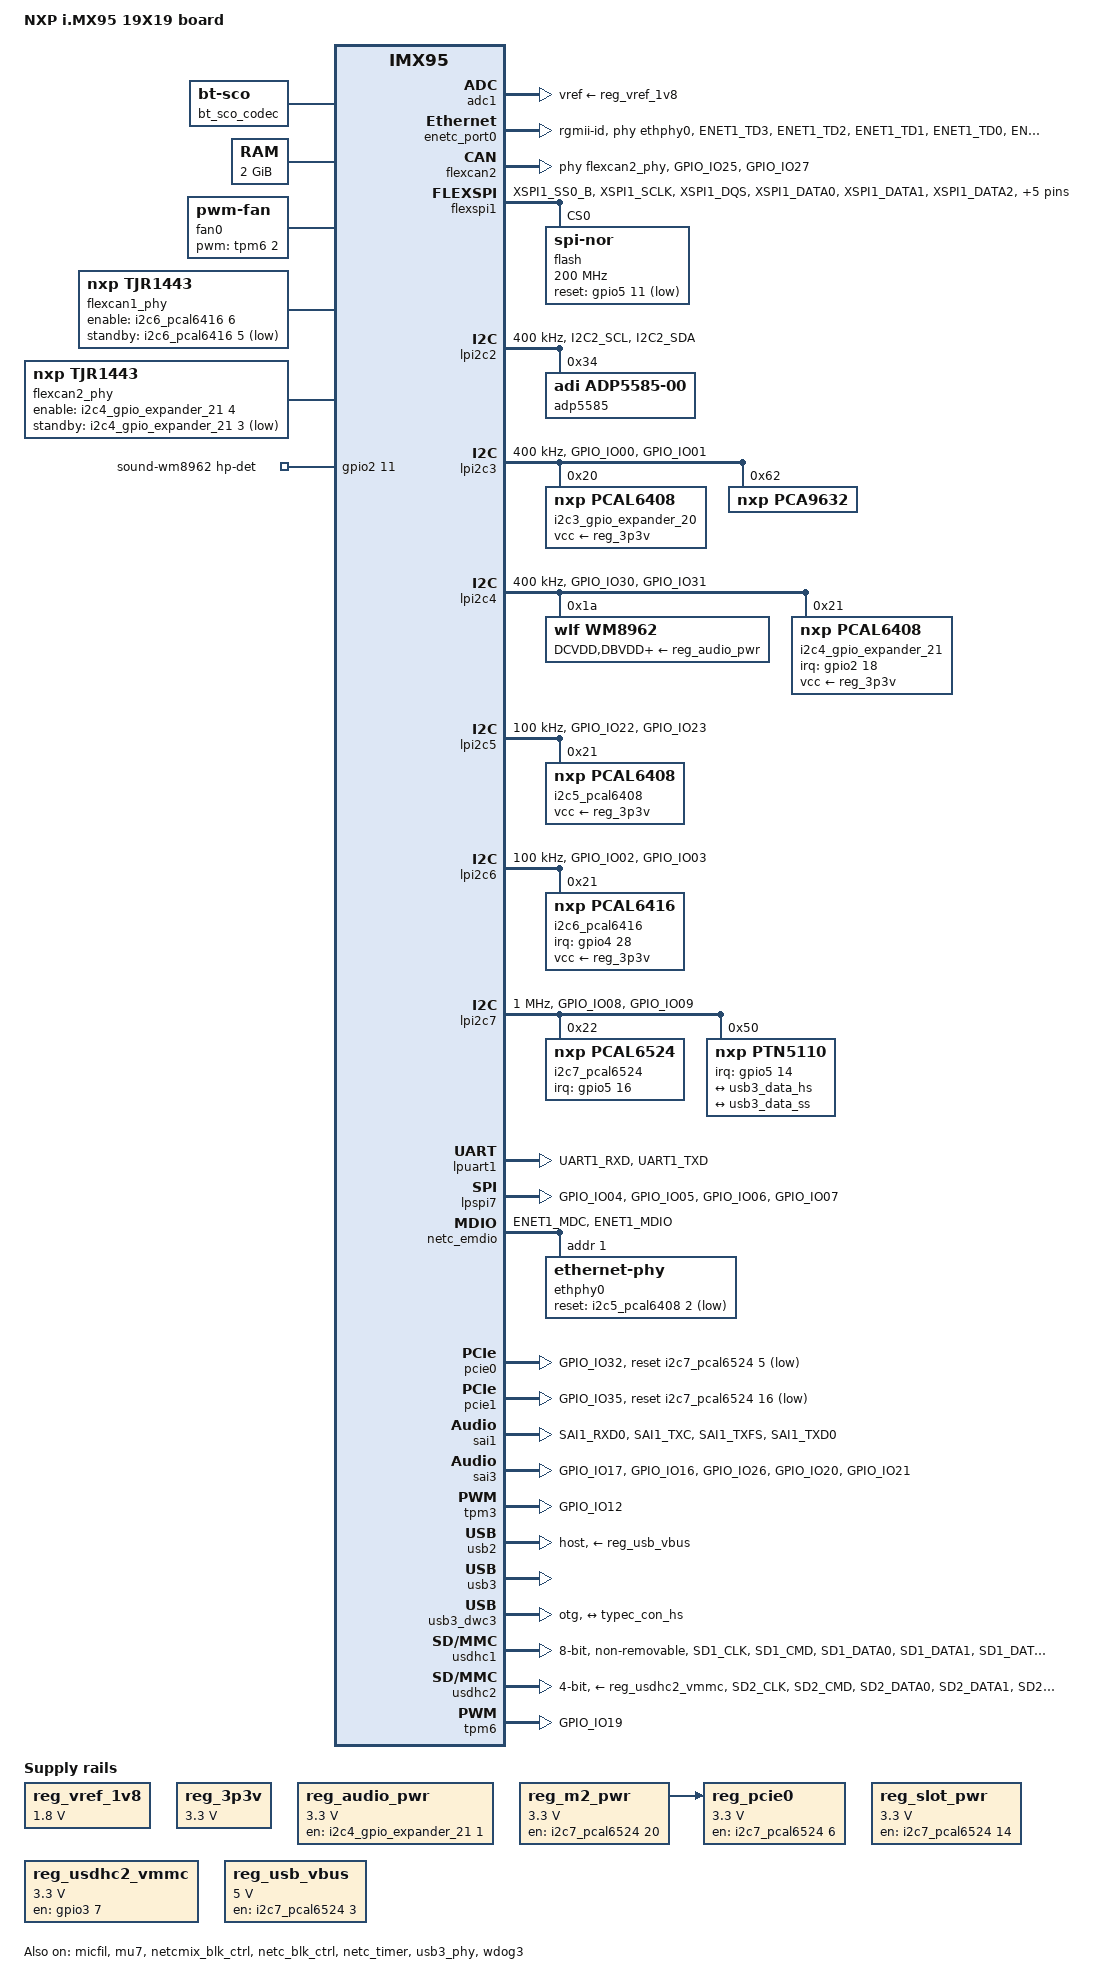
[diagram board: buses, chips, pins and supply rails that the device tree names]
// SPDX-License-Identifier: (GPL-2.0+ OR MIT)
/*
 * Copyright 2024 NXP
 */

/dts-v1/;

#include <dt-bindings/pwm/pwm.h>
#include <dt-bindings/usb/pd.h>
#include "imx95.dtsi"

#define FALLING_EDGE			1
#define RISING_EDGE			2

#define BRD_SM_CTRL_SD3_WAKE		0x8000	/* PCAL6408A-0 */
#define BRD_SM_CTRL_PCIE1_WAKE		0x8001	/* PCAL6408A-4 */
#define BRD_SM_CTRL_BT_WAKE		0x8002	/* PCAL6408A-5 */
#define BRD_SM_CTRL_PCIE2_WAKE		0x8003	/* PCAL6408A-6 */
#define BRD_SM_CTRL_BUTTON		0x8004	/* PCAL6408A-7 */

/ {
	model = "NXP i.MX95 19X19 board";
	compatible = "fsl,imx95-19x19-evk", "fsl,imx95";

	aliases {
		ethernet0 = &enetc_port0;
		gpio0 = &gpio1;
		gpio1 = &gpio2;
		gpio2 = &gpio3;
		gpio3 = &gpio4;
		gpio4 = &gpio5;
		i2c0 = &lpi2c1;
		i2c1 = &lpi2c2;
		i2c2 = &lpi2c3;
		i2c3 = &lpi2c4;
		i2c4 = &lpi2c5;
		i2c5 = &lpi2c6;
		i2c6 = &lpi2c7;
		i2c7 = &lpi2c8;
		mmc0 = &usdhc1;
		mmc1 = &usdhc2;
		serial0 = &lpuart1;
		serial4 = &lpuart5;
	};

	bt_sco_codec: audio-codec-bt-sco {
		#sound-dai-cells = <1>;
		compatible = "linux,bt-sco";
	};

	chosen {
		stdout-path = &lpuart1;
	};

	memory@80000000 {
		device_type = "memory";
		reg = <0x0 0x80000000 0 0x80000000>;
	};

	fan0: pwm-fan {
		compatible = "pwm-fan";
		#cooling-cells = <2>;
		pwms = <&tpm6 2 4000000 PWM_POLARITY_INVERTED>;
		cooling-levels = <64 128 192 255>;
	};

	reserved-memory {
		#address-cells = <2>;
		#size-cells = <2>;
		ranges;

		linux_cma: linux,cma {
			compatible = "shared-dma-pool";
			alloc-ranges = <0 0x80000000 0 0x7f000000>;
			size = <0 0x3c000000>;
			linux,cma-default;
			reusable;
		};
	};

	flexcan1_phy: can-phy0 {
		compatible = "nxp,tjr1443";
		#phy-cells = <0>;
		max-bitrate = <8000000>;
		enable-gpios = <&i2c6_pcal6416 6 GPIO_ACTIVE_HIGH>;
		standby-gpios = <&i2c6_pcal6416 5 GPIO_ACTIVE_LOW>;
	};

	flexcan2_phy: can-phy1 {
		compatible = "nxp,tjr1443";
		#phy-cells = <0>;
		max-bitrate = <8000000>;
		enable-gpios = <&i2c4_gpio_expander_21 4 GPIO_ACTIVE_HIGH>;
		standby-gpios = <&i2c4_gpio_expander_21 3 GPIO_ACTIVE_LOW>;
	};

	reg_vref_1v8: regulator-1p8v {
		compatible = "regulator-fixed";
		regulator-max-microvolt = <1800000>;
		regulator-min-microvolt = <1800000>;
		regulator-name = "+V1.8_SW";
	};

	reg_3p3v: regulator-3p3v {
		compatible = "regulator-fixed";
		regulator-max-microvolt = <3300000>;
		regulator-min-microvolt = <3300000>;
		regulator-name = "+V3.3_SW";
	};

	reg_audio_pwr: regulator-audio-pwr {
		compatible = "regulator-fixed";
		regulator-name = "audio-pwr";
		regulator-min-microvolt = <3300000>;
		regulator-max-microvolt = <3300000>;
		gpio = <&i2c4_gpio_expander_21 1 GPIO_ACTIVE_HIGH>;
		enable-active-high;
		regulator-always-on;
	};

	reg_audio_slot: regulator-audio-slot {
		compatible = "regulator-fixed";
		regulator-name = "audio-wm8962";
		regulator-min-microvolt = <3300000>;
		regulator-max-microvolt = <3300000>;
		gpio = <&i2c4_gpio_expander_21 7 GPIO_ACTIVE_HIGH>;
		enable-active-high;
		regulator-always-on;
		status = "disabled";
	};

	reg_m2_pwr: regulator-m2-pwr {
		compatible = "regulator-fixed";
		regulator-name = "M.2-power";
		regulator-min-microvolt = <3300000>;
		regulator-max-microvolt = <3300000>;
		gpio = <&i2c7_pcal6524 20 GPIO_ACTIVE_HIGH>;
		enable-active-high;
		/*
		 * M.2 device only can be enabled(W_DISABLE1#) after all Power
		 * Rails reach their minimum operating voltage (PCI Express M.2
		 * Specification r5.1 3.1.4 Power-up Timing).
		 * Set a delay equal to the max value of Tsettle here.
		 */
		startup-delay-us = <5000>;
	};

	reg_pcie0: regulator-pcie {
		compatible = "regulator-fixed";
		regulator-name = "PCIE_WLAN_EN";
		regulator-min-microvolt = <3300000>;
		regulator-max-microvolt = <3300000>;
		vin-supply = <&reg_m2_pwr>;
		gpio = <&i2c7_pcal6524 6 GPIO_ACTIVE_HIGH>;
		enable-active-high;
	};

	reg_slot_pwr: regulator-slot-pwr {
		compatible = "regulator-fixed";
		regulator-name = "PCIe slot-power";
		regulator-min-microvolt = <3300000>;
		regulator-max-microvolt = <3300000>;
		gpio = <&i2c7_pcal6524 14 GPIO_ACTIVE_HIGH>;
		enable-active-high;
	};

	reg_usdhc2_vmmc: regulator-usdhc2 {
		compatible = "regulator-fixed";
		pinctrl-names = "default";
		pinctrl-0 = <&pinctrl_reg_usdhc2_vmmc>;
		regulator-name = "VDD_SD2_3V3";
		regulator-min-microvolt = <3300000>;
		regulator-max-microvolt = <3300000>;
		gpio = <&gpio3 7 GPIO_ACTIVE_HIGH>;
		enable-active-high;
		off-on-delay-us = <12000>;
	};

	reg_usb_vbus: regulator-vbus {
		compatible = "regulator-fixed";
		regulator-name = "USB_VBUS";
		regulator-min-microvolt = <5000000>;
		regulator-max-microvolt = <5000000>;
		gpio = <&i2c7_pcal6524 3 GPIO_ACTIVE_HIGH>;
		enable-active-high;
	};

	sound-bt-sco {
		compatible = "simple-audio-card";
		simple-audio-card,name = "bt-sco-audio";
		simple-audio-card,format = "dsp_a";
		simple-audio-card,bitclock-inversion;
		simple-audio-card,frame-master = <&btcpu>;
		simple-audio-card,bitclock-master = <&btcpu>;

		btcpu: simple-audio-card,cpu {
			sound-dai = <&sai1>;
			dai-tdm-slot-num = <2>;
			dai-tdm-slot-width = <16>;
		};

		simple-audio-card,codec {
			sound-dai = <&bt_sco_codec 1>;
		};
	};

	sound-micfil {
		compatible = "fsl,imx-audio-card";
		model = "micfil-audio";

		pri-dai-link {
			link-name = "micfil hifi";
			format = "i2s";
			cpu {
				sound-dai = <&micfil>;
			};
		};
	};

	sound-wm8962 {
		compatible = "fsl,imx-audio-wm8962";
		pinctrl-names = "default";
		pinctrl-0 = <&pinctrl_hp>;
		model = "wm8962-audio";
		audio-cpu = <&sai3>;
		audio-codec = <&wm8962>;
		hp-det-gpios = <&gpio2 11 GPIO_ACTIVE_HIGH>;
		audio-routing = "Headphone Jack", "HPOUTL",
				"Headphone Jack", "HPOUTR",
				"Ext Spk", "SPKOUTL",
				"Ext Spk", "SPKOUTR",
				"AMIC", "MICBIAS",
				"IN3R", "AMIC",
				"IN1R", "AMIC";
	};
};

&adc1 {
	vref-supply = <&reg_vref_1v8>;
	status = "okay";
};

&enetc_port0 {
	pinctrl-names = "default";
	pinctrl-0 = <&pinctrl_enetc0>;
	phy-handle = <&ethphy0>;
	phy-mode = "rgmii-id";
	status = "okay";
};

&flexcan1 {
	pinctrl-names = "default";
	pinctrl-0 = <&pinctrl_flexcan1>;
	phys = <&flexcan1_phy>;
	status = "disabled";
};

&flexcan2 {
	pinctrl-names = "default";
	pinctrl-0 = <&pinctrl_flexcan2>;
	phys = <&flexcan2_phy>;
	status = "okay";
};

&flexspi1 {
	pinctrl-names = "default";
	pinctrl-0 = <&pinctrl_flexspi1>;
	status = "okay";

	flash@0 {
		compatible = "jedec,spi-nor";
		reg = <0>;
		pinctrl-names = "default";
		pinctrl-0 = <&pinctrl_flexspi1_reset>;
		reset-gpios = <&gpio5 11 GPIO_ACTIVE_LOW>;
		#address-cells = <1>;
		#size-cells = <1>;
		spi-max-frequency = <200000000>;
		spi-tx-bus-width = <8>;
		spi-rx-bus-width = <8>;
	};
};

&lpi2c2 {
	clock-frequency = <400000>;
	pinctrl-names = "default";
	pinctrl-0 = <&pinctrl_lpi2c2>;
	status = "okay";

	adp5585: io-expander@34 {
		compatible = "adi,adp5585-00", "adi,adp5585";
		reg = <0x34>;
		gpio-controller;
		#gpio-cells = <2>;
		gpio-reserved-ranges = <5 1>;
		#pwm-cells = <3>;
	};
};

&lpi2c3 {
	clock-frequency = <400000>;
	pinctrl-names = "default";
	pinctrl-0 = <&pinctrl_lpi2c3>;
	status = "okay";

	i2c3_gpio_expander_20: gpio@20 {
		compatible = "nxp,pcal6408";
		#gpio-cells = <2>;
		gpio-controller;
		reg = <0x20>;
		vcc-supply = <&reg_3p3v>;
	};

	pca9632: pca9632@62 {
		compatible = "nxp,pca9632";
		reg = <0x62>;
		#address-cells = <1>;
		#size-cells = <0>;

		led_baclklight: led@0 {
			reg = <0>;
			label = "backlight";
			linux,default-trigger = "none";
		};
	};
};

&lpi2c4 {
	clock-frequency = <400000>;
	pinctrl-names = "default";
	pinctrl-0 = <&pinctrl_lpi2c4>;
	status = "okay";

	wm8962: audio-codec@1a {
		compatible = "wlf,wm8962";
		reg = <0x1a>;
		clocks = <&scmi_clk IMX95_CLK_SAI3>;
		DCVDD-supply = <&reg_audio_pwr>;
		DBVDD-supply = <&reg_audio_pwr>;
		AVDD-supply = <&reg_audio_pwr>;
		CPVDD-supply = <&reg_audio_pwr>;
		MICVDD-supply = <&reg_audio_pwr>;
		PLLVDD-supply = <&reg_audio_pwr>;
		SPKVDD1-supply = <&reg_audio_pwr>;
		SPKVDD2-supply = <&reg_audio_pwr>;
		gpio-cfg = < 0x0000 /* 0:Default */
			     0x0000 /* 1:Default */
			     0x0000 /* 2:FN_DMICCLK */
			     0x0000 /* 3:Default */
			     0x0000 /* 4:FN_DMICCDAT */
			     0x0000 /* 5:Default */
			   >;
	};

	i2c4_gpio_expander_21: gpio@21 {
		compatible = "nxp,pcal6408";
		reg = <0x21>;
		#gpio-cells = <2>;
		gpio-controller;
		interrupt-controller;
		#interrupt-cells = <2>;
		interrupt-parent = <&gpio2>;
		interrupts = <18 IRQ_TYPE_LEVEL_LOW>;
		pinctrl-names = "default";
		pinctrl-0 = <&pinctrl_i2c4_pcal6408>;
		vcc-supply = <&reg_3p3v>;
	};
};

&lpi2c5 {
	clock-frequency = <100000>;
	pinctrl-names = "default";
	pinctrl-0 = <&pinctrl_lpi2c5>;
	status = "okay";

	i2c5_pcal6408: gpio@21 {
		compatible = "nxp,pcal6408";
		reg = <0x21>;
		gpio-controller;
		#gpio-cells = <2>;
		vcc-supply = <&reg_3p3v>;
	};
};

&lpi2c6 {
	clock-frequency = <100000>;
	pinctrl-names = "default";
	pinctrl-0 = <&pinctrl_lpi2c6>;
	status = "okay";

	i2c6_pcal6416: gpio@21 {
		compatible = "nxp,pcal6416";
		reg = <0x21>;
		gpio-controller;
		#gpio-cells = <2>;
		interrupt-controller;
		#interrupt-cells = <2>;
		interrupt-parent = <&gpio4>;
		interrupts = <28 IRQ_TYPE_LEVEL_LOW>;
		pinctrl-names = "default";
		pinctrl-0 = <&pinctrl_pcal6416>;
		vcc-supply = <&reg_3p3v>;
	};
};

&lpi2c7 {
	clock-frequency = <1000000>;
	pinctrl-names = "default";
	pinctrl-0 = <&pinctrl_lpi2c7>;
	status = "okay";

	i2c7_pcal6524: i2c7-gpio@22 {
		compatible = "nxp,pcal6524";
		reg = <0x22>;
		pinctrl-names = "default";
		pinctrl-0 = <&pinctrl_i2c7_pcal6524>;
		gpio-controller;
		#gpio-cells = <2>;
		interrupt-controller;
		#interrupt-cells = <2>;
		interrupt-parent = <&gpio5>;
		interrupts = <16 IRQ_TYPE_LEVEL_LOW>;
	};

	ptn5110: tcpc@50 {
		compatible = "nxp,ptn5110", "tcpci";
		reg = <0x50>;
		pinctrl-names = "default";
		pinctrl-0 = <&pinctrl_typec>;
		interrupt-parent = <&gpio5>;
		interrupts = <14 IRQ_TYPE_LEVEL_LOW>;

		typec_con: connector {
			compatible = "usb-c-connector";
			label = "USB-C";
			power-role = "dual";
			data-role = "dual";
			try-power-role = "sink";
			source-pdos = <PDO_FIXED(5000, 3000, PDO_FIXED_USB_COMM)>;
			sink-pdos = <PDO_FIXED(5000, 0, PDO_FIXED_USB_COMM)>;
			op-sink-microwatt = <0>;
			self-powered;

			ports {
				#address-cells = <1>;
				#size-cells = <0>;

				port@0 {
					reg = <0>;

					typec_con_hs: endpoint {
						remote-endpoint = <&usb3_data_hs>;
					};
				};

				port@1 {
					reg = <1>;

					typec_con_ss: endpoint {
						remote-endpoint = <&usb3_data_ss>;
					};
				};
			};
		};
	};
};

&lpuart1 {
	/* console */
	pinctrl-names = "default";
	pinctrl-0 = <&pinctrl_uart1>;
	status = "okay";
};

&lpuart5 {
	pinctrl-names = "default";
	pinctrl-0 = <&pinctrl_uart5>;
	status = "disabled";

	bluetooth {
		compatible = "nxp,88w8987-bt";
	};
};

&lpspi7 {
	num-cs = <1>;
	pinctrl-names = "default";
	pinctrl-0 = <&pinctrl_lpspi7>;
	cs-gpios = <&gpio2 4 GPIO_ACTIVE_LOW>;
	status = "okay";
};

&micfil {
	#sound-dai-cells = <0>;
	pinctrl-names = "default";
	pinctrl-0 = <&pinctrl_pdm>;
	assigned-clocks = <&scmi_clk IMX95_CLK_AUDIOPLL1_VCO>,
			  <&scmi_clk IMX95_CLK_AUDIOPLL2_VCO>,
			  <&scmi_clk IMX95_CLK_AUDIOPLL1>,
			  <&scmi_clk IMX95_CLK_AUDIOPLL2>,
			  <&scmi_clk IMX95_CLK_PDM>;
	assigned-clock-parents = <0>, <0>, <0>, <0>,
				 <&scmi_clk IMX95_CLK_AUDIOPLL1>;
	assigned-clock-rates = <3932160000>,
			       <3612672000>, <393216000>,
			       <361267200>, <49152000>;
	status = "okay";
};

&mu7 {
	status = "okay";
};

&netcmix_blk_ctrl {
	status = "okay";
};

&netc_blk_ctrl {
	status = "okay";
};

&netc_emdio {
	pinctrl-names = "default";
	pinctrl-0 = <&pinctrl_emdio>;
	status = "okay";

	ethphy0: ethernet-phy@1 {
		reg = <1>;
		reset-gpios = <&i2c5_pcal6408 2 GPIO_ACTIVE_LOW>;
		reset-assert-us = <10000>;
		reset-deassert-us = <80000>;
		realtek,clkout-disable;
	};
};

&netc_timer {
	status = "okay";
};

&pcie0 {
	pinctrl-0 = <&pinctrl_pcie0>;
	pinctrl-names = "default";
	reset-gpio = <&i2c7_pcal6524 5 GPIO_ACTIVE_LOW>;
	vpcie-supply = <&reg_pcie0>;
	status = "okay";
};

&pcie0_ep {
	pinctrl-0 = <&pinctrl_pcie0>;
	pinctrl-names = "default";
	vpcie-supply = <&reg_pcie0>;
	status = "disabled";
};

&pcie1 {
	pinctrl-0 = <&pinctrl_pcie1>;
	pinctrl-names = "default";
	reset-gpio = <&i2c7_pcal6524 16 GPIO_ACTIVE_LOW>;
	vpcie-supply = <&reg_slot_pwr>;
	status = "okay";
};

&pcie1_ep {
	pinctrl-0 = <&pinctrl_pcie1>;
	pinctrl-names = "default";
	vpcie-supply = <&reg_slot_pwr>;
	status = "disabled";
};

&sai1 {
	#sound-dai-cells = <0>;
	pinctrl-names = "default";
	pinctrl-0 = <&pinctrl_sai1>;
	assigned-clocks = <&scmi_clk IMX95_CLK_AUDIOPLL1_VCO>,
			  <&scmi_clk IMX95_CLK_AUDIOPLL2_VCO>,
			  <&scmi_clk IMX95_CLK_AUDIOPLL1>,
			  <&scmi_clk IMX95_CLK_AUDIOPLL2>,
			  <&scmi_clk IMX95_CLK_SAI1>;
	assigned-clock-parents = <0>, <0>, <0>, <0>,
				 <&scmi_clk IMX95_CLK_AUDIOPLL1>;
	assigned-clock-rates = <3932160000>,
			       <3612672000>, <393216000>,
			       <361267200>, <12288000>;
	fsl,sai-mclk-direction-output;
	status = "okay";
};

&sai3 {
	#sound-dai-cells = <0>;
	pinctrl-names = "default";
	pinctrl-0 = <&pinctrl_sai3>;
	assigned-clocks = <&scmi_clk IMX95_CLK_AUDIOPLL1_VCO>,
			  <&scmi_clk IMX95_CLK_AUDIOPLL2_VCO>,
			  <&scmi_clk IMX95_CLK_AUDIOPLL1>,
			  <&scmi_clk IMX95_CLK_AUDIOPLL2>,
			  <&scmi_clk IMX95_CLK_SAI3>;
	assigned-clock-parents = <0>, <0>, <0>, <0>,
				 <&scmi_clk IMX95_CLK_AUDIOPLL1>;
	assigned-clock-rates = <3932160000>,
			       <3612672000>, <393216000>,
			       <361267200>, <12288000>;
	fsl,sai-mclk-direction-output;
	status = "okay";
};

&tpm3 {
	pinctrl-names = "default";
	pinctrl-0 = <&pinctrl_tpm3>;
	status = "okay";
};

&usb2 {
	dr_mode = "host";
	disable-over-current;
	vbus-supply = <&reg_usb_vbus>;
	status = "okay";
};

&usb3 {
	status = "okay";
};

&usb3_dwc3 {
	dr_mode = "otg";
	hnp-disable;
	srp-disable;
	adp-disable;
	usb-role-switch;
	role-switch-default-mode = "peripheral";
	snps,dis-u1-entry-quirk;
	snps,dis-u2-entry-quirk;
	status = "okay";

	port {
		usb3_data_hs: endpoint {
			remote-endpoint = <&typec_con_hs>;
		};
	};
};

&usb3_phy {
	fsl,phy-pcs-tx-deemph-3p5db-attenuation-db = <17>;
	fsl,phy-pcs-tx-swing-full-percent = <100>;
	fsl,phy-tx-preemp-amp-tune-microamp = <600>;
	fsl,phy-tx-vboost-level-microvolt = <1156>;
	fsl,phy-tx-vref-tune-percent = <100>;
	orientation-switch;
	status = "okay";

	port {
		usb3_data_ss: endpoint {
			remote-endpoint = <&typec_con_ss>;
		};
	};
};

&usdhc1 {
	pinctrl-names = "default", "state_100mhz", "state_200mhz", "sleep";
	pinctrl-0 = <&pinctrl_usdhc1>;
	pinctrl-1 = <&pinctrl_usdhc1_100mhz>;
	pinctrl-2 = <&pinctrl_usdhc1_200mhz>;
	pinctrl-3 = <&pinctrl_usdhc1>;
	bus-width = <8>;
	non-removable;
	no-sdio;
	no-sd;
	status = "okay";
};

&usdhc2 {
	pinctrl-names = "default", "state_100mhz", "state_200mhz", "sleep";
	pinctrl-0 = <&pinctrl_usdhc2>, <&pinctrl_usdhc2_gpio>;
	pinctrl-1 = <&pinctrl_usdhc2_100mhz>, <&pinctrl_usdhc2_gpio>;
	pinctrl-2 = <&pinctrl_usdhc2_200mhz>, <&pinctrl_usdhc2_gpio>;
	pinctrl-3 = <&pinctrl_usdhc2>, <&pinctrl_usdhc2_gpio>;
	cd-gpios = <&gpio3 0 GPIO_ACTIVE_LOW>;
	vmmc-supply = <&reg_usdhc2_vmmc>;
	bus-width = <4>;
	status = "okay";
};

&scmi_misc {
	nxp,ctrl-ids = <BRD_SM_CTRL_SD3_WAKE	FALLING_EDGE
			BRD_SM_CTRL_PCIE1_WAKE	FALLING_EDGE
			BRD_SM_CTRL_BT_WAKE	FALLING_EDGE
			BRD_SM_CTRL_PCIE2_WAKE	FALLING_EDGE
			BRD_SM_CTRL_BUTTON	FALLING_EDGE>;
};

&wdog3 {
	fsl,ext-reset-output;
	status = "okay";
};

&scmi_iomuxc {
	pinctrl_emdio: emdiogrp {
		fsl,pins = <
			IMX95_PAD_ENET1_MDC__NETCMIX_TOP_NETC_MDC		0x50e
			IMX95_PAD_ENET1_MDIO__NETCMIX_TOP_NETC_MDIO		0x90e
		>;
	};

	pinctrl_enetc0: enetc0grp {
		fsl,pins = <
			IMX95_PAD_ENET1_TD3__NETCMIX_TOP_ETH0_RGMII_TD3		0x50e
			IMX95_PAD_ENET1_TD2__NETCMIX_TOP_ETH0_RGMII_TD2		0x50e
			IMX95_PAD_ENET1_TD1__NETCMIX_TOP_ETH0_RGMII_TD1		0x50e
			IMX95_PAD_ENET1_TD0__NETCMIX_TOP_ETH0_RGMII_TD0		0x50e
			IMX95_PAD_ENET1_TX_CTL__NETCMIX_TOP_ETH0_RGMII_TX_CTL	0x57e
			IMX95_PAD_ENET1_TXC__NETCMIX_TOP_ETH0_RGMII_TX_CLK	0x58e
			IMX95_PAD_ENET1_RX_CTL__NETCMIX_TOP_ETH0_RGMII_RX_CTL	0x57e
			IMX95_PAD_ENET1_RXC__NETCMIX_TOP_ETH0_RGMII_RX_CLK	0x58e
			IMX95_PAD_ENET1_RD0__NETCMIX_TOP_ETH0_RGMII_RD0		0x57e
			IMX95_PAD_ENET1_RD1__NETCMIX_TOP_ETH0_RGMII_RD1		0x57e
			IMX95_PAD_ENET1_RD2__NETCMIX_TOP_ETH0_RGMII_RD2		0x57e
			IMX95_PAD_ENET1_RD3__NETCMIX_TOP_ETH0_RGMII_RD3		0x57e
		>;
	};

	pinctrl_flexcan1: flexcan1grp {
		fsl,pins = <
			IMX95_PAD_PDM_CLK__AONMIX_TOP_CAN1_TX			0x39e
			IMX95_PAD_PDM_BIT_STREAM0__AONMIX_TOP_CAN1_RX		0x39e
		>;
	};

	pinctrl_flexcan2: flexcan2grp {
		fsl,pins = <
			IMX95_PAD_GPIO_IO25__CAN2_TX				0x39e
			IMX95_PAD_GPIO_IO27__CAN2_RX				0x39e
		>;
	};

	pinctrl_flexspi1: flexspi1grp {
		fsl,pins = <
			IMX95_PAD_XSPI1_SS0_B__FLEXSPI1_A_SS0_B			0x3fe
			IMX95_PAD_XSPI1_SCLK__FLEXSPI1_A_SCLK			0x3fe
			IMX95_PAD_XSPI1_DQS__FLEXSPI1_A_DQS			0x3fe
			IMX95_PAD_XSPI1_DATA0__FLEXSPI1_A_DATA_BIT0		0x3fe
			IMX95_PAD_XSPI1_DATA1__FLEXSPI1_A_DATA_BIT1		0x3fe
			IMX95_PAD_XSPI1_DATA2__FLEXSPI1_A_DATA_BIT2		0x3fe
			IMX95_PAD_XSPI1_DATA3__FLEXSPI1_A_DATA_BIT3		0x3fe
			IMX95_PAD_XSPI1_DATA4__FLEXSPI1_A_DATA_BIT4		0x3fe
			IMX95_PAD_XSPI1_DATA5__FLEXSPI1_A_DATA_BIT5		0x3fe
			IMX95_PAD_XSPI1_DATA6__FLEXSPI1_A_DATA_BIT6		0x3fe
			IMX95_PAD_XSPI1_DATA7__FLEXSPI1_A_DATA_BIT7		0x3fe
		>;
	};

	pinctrl_flexspi1_reset: flexspi1-reset-grp {
		fsl,pins = <
			IMX95_PAD_XSPI1_SS1_B__GPIO5_IO_BIT11			0x3fe
		>;
	};

	pinctrl_hp: hpgrp {
		fsl,pins = <
			IMX95_PAD_GPIO_IO11__GPIO2_IO_BIT11		0x31e
		>;
	};

	pinctrl_i2c4_pcal6408: i2c4pcal6498grp {
		fsl,pins = <
			IMX95_PAD_GPIO_IO18__GPIO2_IO_BIT18			0x31e
		>;
	};

	pinctrl_i2c7_pcal6524: i2c7pcal6524grp {
		fsl,pins = <
			IMX95_PAD_GPIO_IO36__GPIO5_IO_BIT16			0x31e
		>;
	};

	pinctrl_lpi2c1: lpi2c1grp {
		fsl,pins = <
			IMX95_PAD_I2C1_SCL__AONMIX_TOP_LPI2C1_SCL		0x40000b9e
			IMX95_PAD_I2C1_SDA__AONMIX_TOP_LPI2C1_SDA		0x40000b9e
		>;
	};

	pinctrl_lpi2c2: lpi2c2grp {
		fsl,pins = <
			IMX95_PAD_I2C2_SCL__AONMIX_TOP_LPI2C2_SCL		0x40000b9e
			IMX95_PAD_I2C2_SDA__AONMIX_TOP_LPI2C2_SDA		0x40000b9e
		>;
	};

	pinctrl_lpi2c3: lpi2c3grp {
		fsl,pins = <
			IMX95_PAD_GPIO_IO00__LPI2C3_SDA				0x40000b9e
			IMX95_PAD_GPIO_IO01__LPI2C3_SCL				0x40000b9e
		>;
	};

	pinctrl_lpi2c4: lpi2c4grp {
		fsl,pins = <
			IMX95_PAD_GPIO_IO30__LPI2C4_SDA			0x40000b9e
			IMX95_PAD_GPIO_IO31__LPI2C4_SCL			0x40000b9e
		>;
	};

	pinctrl_lpi2c5: lpi2c5grp {
		fsl,pins = <
			IMX95_PAD_GPIO_IO22__LPI2C5_SDA			0x40000b9e
			IMX95_PAD_GPIO_IO23__LPI2C5_SCL			0x40000b9e
		>;
	};

	pinctrl_lpi2c6: lpi2c6grp {
		fsl,pins = <
			IMX95_PAD_GPIO_IO02__LPI2C6_SDA			0x40000b9e
			IMX95_PAD_GPIO_IO03__LPI2C6_SCL			0x40000b9e
		>;
	};

	pinctrl_lpi2c7: lpi2c7grp {
		fsl,pins = <
			IMX95_PAD_GPIO_IO08__LPI2C7_SDA			0x40000b9e
			IMX95_PAD_GPIO_IO09__LPI2C7_SCL			0x40000b9e
		>;
	};

	pinctrl_lpspi7: lpspi7grp {
		fsl,pins = <
			IMX95_PAD_GPIO_IO04__GPIO2_IO_BIT4		0x3fe
			IMX95_PAD_GPIO_IO05__LPSPI7_SIN			0x3fe
			IMX95_PAD_GPIO_IO06__LPSPI7_SOUT		0x3fe
			IMX95_PAD_GPIO_IO07__LPSPI7_SCK			0x3fe
		>;
	};

	pinctrl_pcie0: pcie0grp {
		fsl,pins = <
			IMX95_PAD_GPIO_IO32__HSIOMIX_TOP_PCIE1_CLKREQ_B		0x4000031e
		>;
	};

	pinctrl_pcie1: pcie1grp {
		fsl,pins = <
			IMX95_PAD_GPIO_IO35__HSIOMIX_TOP_PCIE2_CLKREQ_B		0x4000031e
		>;
	};

	pinctrl_pcal6416: pcal6416grp {
		fsl,pins = <
			IMX95_PAD_CCM_CLKO3__GPIO4_IO_BIT28			0x31e
		>;
	};

	pinctrl_pdm: pdmgrp {
		fsl,pins = <
			IMX95_PAD_PDM_CLK__AONMIX_TOP_PDM_CLK				0x31e
			IMX95_PAD_PDM_BIT_STREAM0__AONMIX_TOP_PDM_BIT_STREAM_BIT0	0x31e
		>;
	};

	pinctrl_sai1: sai1grp {
		fsl,pins = <
			IMX95_PAD_SAI1_RXD0__AONMIX_TOP_SAI1_RX_DATA_BIT0    0x31e
			IMX95_PAD_SAI1_TXC__AONMIX_TOP_SAI1_TX_BCLK      0x31e
			IMX95_PAD_SAI1_TXFS__AONMIX_TOP_SAI1_TX_SYNC     0x31e
			IMX95_PAD_SAI1_TXD0__AONMIX_TOP_SAI1_TX_DATA_BIT0    0x31e
		>;
	};

	pinctrl_sai2: sai2grp {
		fsl,pins = <
			IMX95_PAD_ENET2_MDIO__NETCMIX_TOP_SAI2_RX_BCLK			0x31e
			IMX95_PAD_ENET2_MDC__NETCMIX_TOP_SAI2_RX_SYNC			0x31e
			IMX95_PAD_ENET2_TD3__NETCMIX_TOP_SAI2_RX_DATA_BIT0		0x31e
			IMX95_PAD_ENET2_TD2__NETCMIX_TOP_SAI2_RX_DATA_BIT1		0x31e
			IMX95_PAD_ENET2_TXC__NETCMIX_TOP_SAI2_TX_BCLK			0x31e
			IMX95_PAD_ENET2_TX_CTL__NETCMIX_TOP_SAI2_TX_SYNC		0x31e
			IMX95_PAD_ENET2_RX_CTL__NETCMIX_TOP_SAI2_TX_DATA_BIT0		0x31e
			IMX95_PAD_ENET2_RXC__NETCMIX_TOP_SAI2_TX_DATA_BIT1		0x31e
			IMX95_PAD_ENET2_RD0__NETCMIX_TOP_SAI2_TX_DATA_BIT2		0x31e
			IMX95_PAD_ENET2_RD1__NETCMIX_TOP_SAI2_TX_DATA_BIT3		0x31e
			IMX95_PAD_ENET2_RD2__NETCMIX_TOP_SAI2_MCLK			0x31e
		>;
	};

	pinctrl_sai3: sai3grp {
		fsl,pins = <
			IMX95_PAD_GPIO_IO17__SAI3_MCLK				0x31e
			IMX95_PAD_GPIO_IO16__SAI3_TX_BCLK			0x31e
			IMX95_PAD_GPIO_IO26__SAI3_TX_SYNC			0x31e
			IMX95_PAD_GPIO_IO20__SAI3_RX_DATA_BIT0			0x31e
			IMX95_PAD_GPIO_IO21__SAI3_TX_DATA_BIT0			0x31e
		>;
	};

	pinctrl_tpm3: tpm3grp {
		fsl,pins = <
			IMX95_PAD_GPIO_IO12__TPM3_CH2			0x51e
		>;
	};

	pinctrl_tpm6: tpm6grp {
		fsl,pins = <
			IMX95_PAD_GPIO_IO19__TPM6_CH2			0x51e
		>;
	};

	pinctrl_uart1: uart1grp {
		fsl,pins = <
			IMX95_PAD_UART1_RXD__AONMIX_TOP_LPUART1_RX      0x31e
			IMX95_PAD_UART1_TXD__AONMIX_TOP_LPUART1_TX      0x31e
		>;
	};

	pinctrl_uart5: uart5grp {
		fsl,pins = <
			IMX95_PAD_DAP_TDO_TRACESWO__LPUART5_TX		0x31e
			IMX95_PAD_DAP_TDI__LPUART5_RX			0x31e
			IMX95_PAD_DAP_TMS_SWDIO__LPUART5_RTS_B		0x31e
			IMX95_PAD_DAP_TCLK_SWCLK__LPUART5_CTS_B		0x31e
		>;
	};

	pinctrl_usdhc1: usdhc1grp {
		fsl,pins = <
			IMX95_PAD_SD1_CLK__USDHC1_CLK			0x158e
			IMX95_PAD_SD1_CMD__USDHC1_CMD			0x138e
			IMX95_PAD_SD1_DATA0__USDHC1_DATA0		0x138e
			IMX95_PAD_SD1_DATA1__USDHC1_DATA1		0x138e
			IMX95_PAD_SD1_DATA2__USDHC1_DATA2		0x138e
			IMX95_PAD_SD1_DATA3__USDHC1_DATA3		0x138e
			IMX95_PAD_SD1_DATA4__USDHC1_DATA4		0x138e
			IMX95_PAD_SD1_DATA5__USDHC1_DATA5		0x138e
			IMX95_PAD_SD1_DATA6__USDHC1_DATA6		0x138e
			IMX95_PAD_SD1_DATA7__USDHC1_DATA7		0x138e
			IMX95_PAD_SD1_STROBE__USDHC1_STROBE		0x158e
		>;
	};

	pinctrl_usdhc1_100mhz: usdhc1-100mhzgrp {
		fsl,pins = <
			IMX95_PAD_SD1_CLK__USDHC1_CLK			0x158e
			IMX95_PAD_SD1_CMD__USDHC1_CMD			0x138e
			IMX95_PAD_SD1_DATA0__USDHC1_DATA0		0x138e
			IMX95_PAD_SD1_DATA1__USDHC1_DATA1		0x138e
			IMX95_PAD_SD1_DATA2__USDHC1_DATA2		0x138e
			IMX95_PAD_SD1_DATA3__USDHC1_DATA3		0x138e
			IMX95_PAD_SD1_DATA4__USDHC1_DATA4		0x138e
			IMX95_PAD_SD1_DATA5__USDHC1_DATA5		0x138e
			IMX95_PAD_SD1_DATA6__USDHC1_DATA6		0x138e
			IMX95_PAD_SD1_DATA7__USDHC1_DATA7		0x138e
			IMX95_PAD_SD1_STROBE__USDHC1_STROBE		0x158e
		>;
	};

	pinctrl_usdhc1_200mhz: usdhc1-200mhzgrp {
		fsl,pins = <
			IMX95_PAD_SD1_CLK__USDHC1_CLK			0x15fe
			IMX95_PAD_SD1_CMD__USDHC1_CMD			0x13fe
			IMX95_PAD_SD1_DATA0__USDHC1_DATA0		0x13fe
			IMX95_PAD_SD1_DATA1__USDHC1_DATA1		0x13fe
			IMX95_PAD_SD1_DATA2__USDHC1_DATA2		0x13fe
			IMX95_PAD_SD1_DATA3__USDHC1_DATA3		0x13fe
			IMX95_PAD_SD1_DATA4__USDHC1_DATA4		0x13fe
			IMX95_PAD_SD1_DATA5__USDHC1_DATA5		0x13fe
			IMX95_PAD_SD1_DATA6__USDHC1_DATA6		0x13fe
			IMX95_PAD_SD1_DATA7__USDHC1_DATA7		0x13fe
			IMX95_PAD_SD1_STROBE__USDHC1_STROBE		0x15fe
		>;
	};

	pinctrl_reg_usdhc2_vmmc: regusdhc2vmmcgrp {
		fsl,pins = <
			IMX95_PAD_SD2_RESET_B__GPIO3_IO_BIT7		0x31e
		>;
	};

	pinctrl_typec: typecgrp {
		fsl,pins = <
			IMX95_PAD_GPIO_IO34__GPIO5_IO_BIT14			0x31e
		>;
	};

	pinctrl_usdhc2_gpio: usdhc2gpiogrp {
		fsl,pins = <
			IMX95_PAD_SD2_CD_B__GPIO3_IO_BIT0		0x31e
		>;
	};

	pinctrl_usdhc2: usdhc2grp {
		fsl,pins = <
			IMX95_PAD_SD2_CLK__USDHC2_CLK			0x158e
			IMX95_PAD_SD2_CMD__USDHC2_CMD			0x138e
			IMX95_PAD_SD2_DATA0__USDHC2_DATA0		0x138e
			IMX95_PAD_SD2_DATA1__USDHC2_DATA1		0x138e
			IMX95_PAD_SD2_DATA2__USDHC2_DATA2		0x138e
			IMX95_PAD_SD2_DATA3__USDHC2_DATA3		0x138e
			IMX95_PAD_SD2_VSELECT__USDHC2_VSELECT		0x51e
		>;
	};

	pinctrl_usdhc2_100mhz: usdhc2-100mhzgrp {
		fsl,pins = <
			IMX95_PAD_SD2_CLK__USDHC2_CLK			0x158e
			IMX95_PAD_SD2_CMD__USDHC2_CMD			0x138e
			IMX95_PAD_SD2_DATA0__USDHC2_DATA0		0x138e
			IMX95_PAD_SD2_DATA1__USDHC2_DATA1		0x138e
			IMX95_PAD_SD2_DATA2__USDHC2_DATA2		0x138e
			IMX95_PAD_SD2_DATA3__USDHC2_DATA3		0x138e
			IMX95_PAD_SD2_VSELECT__USDHC2_VSELECT		0x51e
		>;
	};

	pinctrl_usdhc2_200mhz: usdhc2-200mhzgrp {
		fsl,pins = <
			IMX95_PAD_SD2_CLK__USDHC2_CLK			0x158e
			IMX95_PAD_SD2_CMD__USDHC2_CMD			0x138e
			IMX95_PAD_SD2_DATA0__USDHC2_DATA0		0x138e
			IMX95_PAD_SD2_DATA1__USDHC2_DATA1		0x138e
			IMX95_PAD_SD2_DATA2__USDHC2_DATA2		0x138e
			IMX95_PAD_SD2_DATA3__USDHC2_DATA3		0x138e
			IMX95_PAD_SD2_VSELECT__USDHC2_VSELECT		0x51e
		>;
	};
};

&thermal_zones {
	a55-thermal {
		trips {
			atrip2: trip2 {
				temperature = <55000>;
				hysteresis = <2000>;
				type = "active";
			};

			atrip3: trip3 {
				temperature = <65000>;
				hysteresis = <2000>;
				type = "active";
			};

			atrip4: trip4 {
				temperature = <75000>;
				hysteresis = <2000>;
				type = "active";
			};
		};

		cooling-maps {
			map1 {
				trip = <&atrip2>;
				cooling-device = <&fan0 0 1>;
			};

			map2 {
				trip = <&atrip3>;
				cooling-device = <&fan0 1 2>;
			};

			map3 {
				trip = <&atrip4>;
				cooling-device = <&fan0 2 3>;
			};
		};
	};

	pf09-thermal {
		polling-delay = <2000>;
		polling-delay-passive = <250>;
		thermal-sensors = <&scmi_sensor 2>;

		trips {
			pf09_alert: trip0 {
				hysteresis = <2000>;
				temperature = <140000>;
				type = "passive";
			};

			pf09_crit: trip1 {
				hysteresis = <2000>;
				temperature = <155000>;
				type = "critical";
			};
		};
	};

	pf53arm-thermal {
		polling-delay = <2000>;
		polling-delay-passive = <250>;
		thermal-sensors = <&scmi_sensor 4>;

		cooling-maps {
			map0 {
				trip = <&pf5301_alert>;
				cooling-device =
					<&A55_0 THERMAL_NO_LIMIT THERMAL_NO_LIMIT>,
					<&A55_1 THERMAL_NO_LIMIT THERMAL_NO_LIMIT>,
					<&A55_2 THERMAL_NO_LIMIT THERMAL_NO_LIMIT>,
					<&A55_3 THERMAL_NO_LIMIT THERMAL_NO_LIMIT>,
					<&A55_4 THERMAL_NO_LIMIT THERMAL_NO_LIMIT>,
					<&A55_5 THERMAL_NO_LIMIT THERMAL_NO_LIMIT>;
			};
		};

		trips {
			pf5301_alert: trip0 {
				hysteresis = <2000>;
				temperature = <140000>;
				type = "passive";
			};

			pf5301_crit: trip1 {
				hysteresis = <2000>;
				temperature = <155000>;
				type = "critical";
			};
		};
	};

	pf53soc-thermal {
		polling-delay = <2000>;
		polling-delay-passive = <250>;
		thermal-sensors = <&scmi_sensor 3>;

		trips {
			pf5302_alert: trip0 {
				hysteresis = <2000>;
				temperature = <140000>;
				type = "passive";
			};

			pf5302_crit: trip1 {
				hysteresis = <2000>;
				temperature = <155000>;
				type = "critical";
			};
		};
	};
};

&tpm6 {
	pinctrl-names = "default";
	pinctrl-0 = <&pinctrl_tpm6>;
	status = "okay";
};
